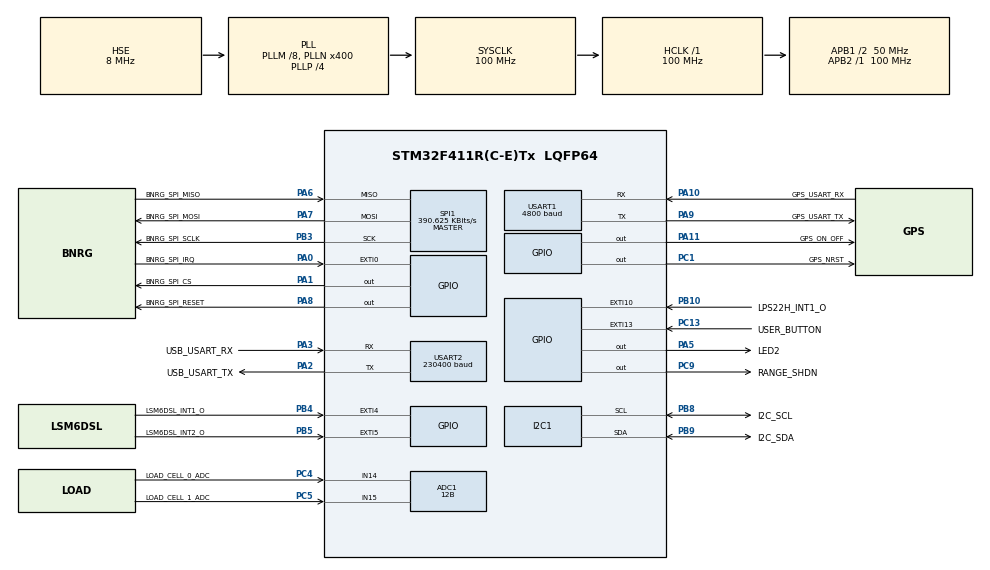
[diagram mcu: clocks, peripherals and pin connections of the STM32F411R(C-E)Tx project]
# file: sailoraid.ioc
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ADC1.Channel-0\#ChannelRegularConversion=ADC_CHANNEL_14
ADC1.Channel-4\#ChannelInjectedConversion=ADC_CHANNEL_14
ADC1.Channel-5\#ChannelRegularConversion=ADC_CHANNEL_15
ADC1.Channel-6\#ChannelInjectedConversion=ADC_CHANNEL_15
ADC1.ClockPrescaler=ADC_CLOCK_SYNC_PCLK_DIV4
ADC1.ContinuousConvMode=DISABLE
ADC1.DMAContinuousRequests=ENABLE
ADC1.DataAlign=ADC_DATAALIGN_RIGHT
ADC1.DiscontinuousConvMode=DISABLE
ADC1.EOCSelection=ADC_EOC_SEQ_CONV
ADC1.EnableAnalogWatchDog=false
ADC1.ExternalTrigConv=ADC_SOFTWARE_START
ADC1.ExternalTrigConvEdge=ADC_EXTERNALTRIGCONVEDGE_NONE
ADC1.ExternalTrigInjecConv=ADC_INJECTED_SOFTWARE_START
ADC1.ExternalTrigInjecConvEdge=ADC_EXTERNALTRIGINJECCONVEDGE_NONE
ADC1.InjNumberOfConversion=2
ADC1.InjectedConvMode=None
ADC1.InjectedOffset-4\#ChannelInjectedConversion=0
ADC1.InjectedOffset-6\#ChannelInjectedConversion=0
ADC1.NbrOfConversion=2
ADC1.NbrOfConversionFlag=1
ADC1.Rank-0\#ChannelRegularConversion=1
ADC1.Rank-4\#ChannelInjectedConversion=1
ADC1.Rank-5\#ChannelRegularConversion=2
ADC1.Rank-6\#ChannelInjectedConversion=2
ADC1.Resolution=ADC_RESOLUTION_12B
ADC1.SamplingTime-0\#ChannelRegularConversion=ADC_SAMPLETIME_28CYCLES
ADC1.SamplingTime-4\#ChannelInjectedConversion=ADC_SAMPLETIME_28CYCLES
ADC1.SamplingTime-5\#ChannelRegularConversion=ADC_SAMPLETIME_28CYCLES
ADC1.SamplingTime-6\#ChannelInjectedConversion=ADC_SAMPLETIME_28CYCLES
ADC1.ScanConvMode=ENABLE
ADC1.master=1
Dma.ADC1.4.Direction=DMA_PERIPH_TO_MEMORY
Dma.ADC1.4.FIFOMode=DMA_FIFOMODE_DISABLE
Dma.ADC1.4.Instance=DMA2_Stream0
Dma.ADC1.4.MemDataAlignment=DMA_MDATAALIGN_HALFWORD
Dma.ADC1.4.MemInc=DMA_MINC_ENABLE
Dma.ADC1.4.Mode=DMA_CIRCULAR
Dma.ADC1.4.PeriphDataAlignment=DMA_PDATAALIGN_HALFWORD
Dma.ADC1.4.PeriphInc=DMA_PINC_DISABLE
Dma.ADC1.4.Priority=DMA_PRIORITY_LOW
Dma.Request0=USART1_RX
Dma.Request1=USART1_TX
Dma.Request2=USART2_RX
Dma.Request3=USART2_TX
Dma.Request4=ADC1
Dma.USART1_RX.0.Direction=DMA_PERIPH_TO_MEMORY
Dma.USART1_RX.0.FIFOMode=DMA_FIFOMODE_DISABLE
Dma.USART1_RX.0.Instance=DMA2_Stream2
Dma.USART1_RX.0.MemDataAlignment=DMA_MDATAALIGN_BYTE
Dma.USART1_RX.0.MemInc=DMA_MINC_ENABLE
Dma.USART1_RX.0.Mode=DMA_CIRCULAR
Dma.USART1_RX.0.PeriphDataAlignment=DMA_PDATAALIGN_BYTE
Dma.USART1_RX.0.PeriphInc=DMA_PINC_DISABLE
Dma.USART1_RX.0.Priority=DMA_PRIORITY_LOW
Dma.USART1_TX.1.Direction=DMA_MEMORY_TO_PERIPH
Dma.USART1_TX.1.FIFOMode=DMA_FIFOMODE_DISABLE
Dma.USART1_TX.1.Instance=DMA2_Stream7
Dma.USART1_TX.1.MemDataAlignment=DMA_MDATAALIGN_BYTE
Dma.USART1_TX.1.MemInc=DMA_MINC_ENABLE
Dma.USART1_TX.1.Mode=DMA_NORMAL
Dma.USART1_TX.1.PeriphDataAlignment=DMA_PDATAALIGN_BYTE
Dma.USART1_TX.1.PeriphInc=DMA_PINC_DISABLE
Dma.USART1_TX.1.Priority=DMA_PRIORITY_LOW
Dma.USART2_RX.2.Direction=DMA_PERIPH_TO_MEMORY
Dma.USART2_RX.2.FIFOMode=DMA_FIFOMODE_DISABLE
Dma.USART2_RX.2.Instance=DMA1_Stream5
Dma.USART2_RX.2.MemDataAlignment=DMA_MDATAALIGN_BYTE
Dma.USART2_RX.2.MemInc=DMA_MINC_ENABLE
Dma.USART2_RX.2.Mode=DMA_CIRCULAR
Dma.USART2_RX.2.PeriphDataAlignment=DMA_PDATAALIGN_BYTE
Dma.USART2_RX.2.PeriphInc=DMA_PINC_DISABLE
Dma.USART2_RX.2.Priority=DMA_PRIORITY_LOW
Dma.USART2_TX.3.Direction=DMA_MEMORY_TO_PERIPH
Dma.USART2_TX.3.FIFOMode=DMA_FIFOMODE_DISABLE
Dma.USART2_TX.3.Instance=DMA1_Stream6
Dma.USART2_TX.3.MemDataAlignment=DMA_MDATAALIGN_BYTE
Dma.USART2_TX.3.MemInc=DMA_MINC_ENABLE
Dma.USART2_TX.3.Mode=DMA_NORMAL
Dma.USART2_TX.3.PeriphDataAlignment=DMA_PDATAALIGN_BYTE
Dma.USART2_TX.3.PeriphInc=DMA_PINC_DISABLE
Dma.USART2_TX.3.Priority=DMA_PRIORITY_LOW
I2C1.ClockSpeed=MAIN_I2C_SPEED
I2C1.I2C_Mode=I2C_Fast
Mcu.Family=STM32F4
Mcu.Name=STM32F411R(C-E)Tx
Mcu.Package=LQFP64
Mcu.UserConstants=MAIN_I2C_SPEED,400000
NVIC.ADC_IRQn=true\:0\:0\:false\:false\:true\:true
NVIC.DMA1_Stream5_IRQn=true\:0\:0\:false\:false\:true\:true
NVIC.DMA1_Stream6_IRQn=true\:0\:0\:false\:false\:true\:true
NVIC.DMA2_Stream0_IRQn=true\:0\:0\:false\:false\:true\:true
NVIC.DMA2_Stream2_IRQn=true\:0\:0\:false\:false\:true\:true
NVIC.DMA2_Stream7_IRQn=true\:0\:0\:false\:false\:true\:true
NVIC.EXTI0_IRQn=true\:0\:0\:false\:false\:true\:true
NVIC.EXTI15_10_IRQn=true\:0\:0\:false\:false\:true\:true
NVIC.EXTI4_IRQn=true\:0\:0\:false\:false\:true\:true
NVIC.EXTI9_5_IRQn=true\:0\:0\:false\:false\:true\:true
NVIC.I2C1_ER_IRQn=true\:0\:0\:false\:false\:true\:true
NVIC.I2C1_EV_IRQn=true\:0\:0\:false\:false\:true\:true
NVIC.PVD_IRQn=true\:0\:0\:false\:false\:true\:true
NVIC.PriorityGroup=NVIC_PRIORITYGROUP_0
NVIC.RCC_IRQn=true\:0\:0\:false\:false\:true\:true
NVIC.SPI1_IRQn=true\:0\:0\:false\:false\:true\:true
NVIC.TIM2_IRQn=true\:0\:0\:false\:false\:true\:true
NVIC.USART1_IRQn=true\:0\:0\:false\:false\:true\:true
NVIC.USART2_IRQn=true\:0\:0\:false\:false\:true\:true
PA0-WKUP.GPIO_Label=BNRG_SPI_IRQ
PA0-WKUP.Signal=GPXTI0
PA1.GPIO_Label=BNRG_SPI_CS
PA1.GPIO_Speed=GPIO_SPEED_FREQ_HIGH
PA1.PinState=GPIO_PIN_RESET
PA1.Signal=GPIO_Output
PA10.GPIO_Label=GPS_USART_RX
PA10.Mode=Asynchronous
PA10.Signal=USART1_RX
PA11.GPIO_Label=GPS_ON_OFF
PA11.GPIO_PuPd=GPIO_PULLUP
PA11.Signal=GPIO_Output
PA13.GPIO_Label=TMS
PA13.Mode=Serial_Wire
PA13.Signal=SYS_JTMS-SWDIO
PA14.GPIO_Label=TCK
PA14.Mode=Serial_Wire
PA14.Signal=SYS_JTCK-SWCLK
PA2.GPIO_Label=USB_USART_TX
PA2.Mode=Asynchronous
PA2.Signal=USART2_TX
PA3.GPIO_Label=USB_USART_RX
PA3.Mode=Asynchronous
PA3.Signal=USART2_RX
PA5.GPIO_Label=LED2
PA5.Signal=GPIO_Output
PA6.GPIO_Label=BNRG_SPI_MISO
PA6.Mode=Full_Duplex_Master
PA6.Signal=SPI1_MISO
PA7.GPIO_Label=BNRG_SPI_MOSI
PA7.Mode=Full_Duplex_Master
PA7.Signal=SPI1_MOSI
PA8.GPIO_Label=BNRG_SPI_RESET
PA8.GPIO_Speed=GPIO_SPEED_FREQ_HIGH
PA8.Signal=GPIO_Output
PA9.GPIO_Label=GPS_USART_TX
PA9.Mode=Asynchronous
PA9.Signal=USART1_TX
PB10.GPIO_Label=LPS22H_INT1_O
PB10.Signal=GPXTI10
PB3.GPIO_Label=BNRG_SPI_SCLK
PB3.Mode=Full_Duplex_Master
PB3.Signal=SPI1_SCK
PB4.GPIO_Label=LSM6DSL_INT1_O
PB4.Signal=GPXTI4
PB5.GPIO_Label=LSM6DSL_INT2_O
PB5.Signal=GPXTI5
PB8.GPIO_Label=I2C_SCL
PB8.Mode=I2C
PB8.Signal=I2C1_SCL
PB9.GPIO_Label=I2C_SDA
PB9.Mode=I2C
PB9.Signal=I2C1_SDA
PC1.GPIO_Label=GPS_NRST
PC1.GPIO_ModeDefaultOutputPP=GPIO_MODE_OUTPUT_PP
PC1.GPIO_PuPd=GPIO_PULLUP
PC1.Signal=GPIO_Output
PC13-ANTI_TAMP.GPIO_Label=USER_BUTTON
PC13-ANTI_TAMP.GPIO_ModeDefaultEXTI=GPIO_MODE_IT_FALLING
PC13-ANTI_TAMP.Signal=GPXTI13
PC14-OSC32_IN.Mode=LSE-External-Oscillator
PC14-OSC32_IN.Signal=RCC_OSC32_IN
PC15-OSC32_OUT.Mode=LSE-External-Oscillator
PC15-OSC32_OUT.Signal=RCC_OSC32_OUT
PC4.GPIO_Label=LOAD_CELL_0_ADC
PC4.Signal=ADCx_IN14
PC5.GPIO_Label=LOAD_CELL_1_ADC
PC5.Signal=ADCx_IN15
PC9.GPIO_Label=RANGE_SHDN
PC9.PinState=GPIO_PIN_SET
PC9.Signal=GPIO_Output
PH0\ -\ OSC_IN.Mode=HSE-External-Oscillator
PH0\ -\ OSC_IN.Signal=RCC_OSC_IN
PH1\ -\ OSC_OUT.Mode=HSE-External-Oscillator
PH1\ -\ OSC_OUT.Signal=RCC_OSC_OUT
ProjectManager.HeapSize=0x200
ProjectManager.StackSize=0x400
ProjectManager.TargetToolchain=TrueSTUDIO
RCC.48MHZClocksFreq_Value=100000000
RCC.AHBFreq_Value=100000000
RCC.APB1CLKDivider=RCC_HCLK_DIV2
RCC.APB1Freq_Value=50000000
RCC.APB1TimFreq_Value=100000000
RCC.APB2Freq_Value=100000000
RCC.APB2TimFreq_Value=100000000
RCC.CortexFreq_Value=100000000
RCC.FLatency-AdvancedSettings=FLASH_LATENCY_3
RCC.HCLKFreq_Value=100000000
RCC.HSE_VALUE=8000000
RCC.HSI_VALUE=16000000
RCC.PLLM=8
RCC.PLLN=400
RCC.PLLP=RCC_PLLP_DIV4
RCC.PLLSourceVirtual=RCC_PLLSOURCE_HSE
RCC.SYSCLKFreq_VALUE=100000000
RCC.SYSCLKSource=RCC_SYSCLKSOURCE_PLLCLK
RCC.VCOOutputFreq_Value=400000000
SH.ADCx_IN14.0=ADC1_IN14,IN14
SH.ADCx_IN15.0=ADC1_IN15,IN15
SPI1.BaudRatePrescaler=SPI_BAUDRATEPRESCALER_256
SPI1.CLKPhase=SPI_PHASE_1EDGE
SPI1.CLKPolarity=SPI_POLARITY_LOW
SPI1.CRCCalculation=SPI_CRCCALCULATION_DISABLE
SPI1.CalculateBaudRate=390.625 KBits/s
SPI1.Direction=SPI_DIRECTION_2LINES
SPI1.Mode=SPI_MODE_MASTER
SPI1.VirtualType=VM_MASTER
TIM2.Period=0xffffffff
TIM2.Prescaler=99
USART1.BaudRate=4800
USART1.StopBits=STOPBITS_1
USART1.VirtualMode=VM_ASYNC
USART1.WordLength=WORDLENGTH_8B
USART2.BaudRate=230400
USART2.VirtualMode=VM_ASYNC
VP_TIM2_VS_ClockSourceINT.Mode=Internal
board=NUCLEO-F411RE

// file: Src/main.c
/**
 ******************************************************************************
 * File Name          : main.c
 * Description        : Main program body
 ******************************************************************************
 ** This notice applies to any and all portions of this file
 * that are not between comment pairs USER CODE BEGIN and
 * USER CODE END. Other portions of this file, whether
 * inserted by the user or by software development tools
 * are owned by their respective copyright owners.
 *
 * COPYRIGHT(c) 2017 STMicroelectronics
 *
 * Redistribution and use in source and binary forms, with or without modification,
 * are permitted provided that the following conditions are met:
 *   1. Redistributions of source code must retain the above copyright notice,
 *      this list of conditions and the following disclaimer.
 *   2. Redistributions in binary form must reproduce the above copyright notice,
 *      this list of conditions and the following disclaimer in the documentation
 *      and/or other materials provided with the distribution.
 *   3. Neither the name of STMicroelectronics nor the names of its contributors
 *      may be used to endorse or promote products derived from this software
 *      without specific prior written permission.
 *
 * THIS SOFTWARE IS PROVIDED BY THE COPYRIGHT HOLDERS AND CONTRIBUTORS "AS IS"
 * AND ANY EXPRESS OR IMPLIED WARRANTIES, INCLUDING, BUT NOT LIMITED TO, THE
 * IMPLIED WARRANTIES OF MERCHANTABILITY AND FITNESS FOR A PARTICULAR PURPOSE ARE
 * DISCLAIMED. IN NO EVENT SHALL THE COPYRIGHT HOLDER OR CONTRIBUTORS BE LIABLE
 * FOR ANY DIRECT, INDIRECT, INCIDENTAL, SPECIAL, EXEMPLARY, OR CONSEQUENTIAL
 * DAMAGES (INCLUDING, BUT NOT LIMITED TO, PROCUREMENT OF SUBSTITUTE GOODS OR
 * SERVICES; LOSS OF USE, DATA, OR PROFITS; OR BUSINESS INTERRUPTION) HOWEVER
 * CAUSED AND ON ANY THEORY OF LIABILITY, WHETHER IN CONTRACT, STRICT LIABILITY,
 * OR TORT (INCLUDING NEGLIGENCE OR OTHERWISE) ARISING IN ANY WAY OUT OF THE USE
 * OF THIS SOFTWARE, EVEN IF ADVISED OF THE POSSIBILITY OF SUCH DAMAGE.
 *
 ******************************************************************************
 */

#include "main.h"
#include "stm32f4xx_hal.h"

/* USER CODE BEGIN Includes */
#include "bluenrg_interface.h"
#include "stm32f4xx_nucleo.h"
#include "imu.h"
#include "gps.h"
#include "sensor.h"
#include "serial.h"
#include "MadgwickAHRS.h"
#include "state.h"
#include "range.h"
/* USER CODE END Includes */

ADC_HandleTypeDef hadc1;
DMA_HandleTypeDef hdma_adc1;

I2C_HandleTypeDef hi2c1;

SPI_HandleTypeDef hspi1;

TIM_HandleTypeDef htim2;

UART_HandleTypeDef huart1;
UART_HandleTypeDef huart2;
DMA_HandleTypeDef hdma_usart1_rx;
DMA_HandleTypeDef hdma_usart1_tx;
DMA_HandleTypeDef hdma_usart2_rx;
DMA_HandleTypeDef hdma_usart2_tx;

/* USER CODE BEGIN PV */

// System sample rates and USB/BT output rates
// Lowest rate possible is 1/(0xffffffff/10^6) = 0.0002 Hz
#define IMU_SAMPLE_RATE 100.0
#define ENV_SAMPLE_RATE 1.0
#define ADC_SAMPLE_RATE 10.0
#define RANGE_SAMPLE_RATE 10.0

#define USB_ENV_OUTPUT_RATE 1.0
#define USB_GPS_OUTPUT_RATE 1.0
#define USB_IMU_OUTPUT_RATE 60.0
#define USB_RANGE_OUTPUT_RATE 10.0
#define USB_MATLAB_OUTPUT_RATE 100.0
#define USB_ADC_OUTPUT_RATE 10.0

#define BT_ENV_OUTPUT_RATE 5.0
#define BT_GPS_OUTPUT_RATE 1.0
#define BT_IMU_OUTPUT_RATE 30.0
#define BT_RANGE_OUTPUT_RATE 5.0

extern volatile uint8_t set_connectable;
extern volatile int connected;
volatile uint8_t adcFinished = 1;
SensorState_t sensor;

typedef struct Task_Data
{
  uint32_t period;
  uint32_t previous;
  BOOL echo;
} Task_Data;

/**
 * Check if it is time to run a task
 */
static uint32_t taskTimeout(Task_Data *data, TIM_HandleTypeDef *tim)
{
  uint32_t deltaTime = tim->Instance->CNT - data->previous;
  if (deltaTime >= data->period)
  {
    // If deadline has passed more than once add the period multiple times
    // to avoid running the task many times. We don't want to add deltaTime,
    // since this would result in drift
    int k = deltaTime / data->period;
    data->previous += k * data->period;
    return deltaTime;
  }
  return 0;
}

static Task_Data imuSampleTask = { .period = (uint32_t) (1000000.0 / IMU_SAMPLE_RATE) };
static Task_Data envSampleTask = { .period = (uint32_t) (1000000.0 / ENV_SAMPLE_RATE) };
static Task_Data adcSampleTask = { .period = (uint32_t) (1000000.0 / ADC_SAMPLE_RATE) };
static Task_Data rangeSampleTask = { .period = (uint32_t) (1000000.0 / RANGE_SAMPLE_RATE) };
static Task_Data usbEnvOutputTask = { .period = (uint32_t) (1000000.0 / USB_ENV_OUTPUT_RATE) };
static Task_Data usbGpsOutputTask = { .period = (uint32_t) (1000000.0 / USB_GPS_OUTPUT_RATE) };
static Task_Data usbImuOutputTask = { .period = (uint32_t) (1000000.0 / USB_IMU_OUTPUT_RATE) };
static Task_Data usbRangeOutputTask = { .period = (uint32_t) (1000000.0 / USB_RANGE_OUTPUT_RATE) };
static Task_Data usbMatlabOutputTask = { .period = (uint32_t) (1000000.0 / USB_MATLAB_OUTPUT_RATE) };
static Task_Data usbAdcOutputTask = { .period = (uint32_t) (1000000.0 / USB_MATLAB_OUTPUT_RATE) };
static Task_Data btEnvOutputTask = { .period = (uint32_t) (1000000.0 / BT_ENV_OUTPUT_RATE) };
static Task_Data btGpsOutputTask = { .period = (uint32_t) (1000000.0 / BT_GPS_OUTPUT_RATE) };
static Task_Data btImuOutputTask = { .period = (uint32_t) (1000000.0 / BT_IMU_OUTPUT_RATE) };
static Task_Data btRangeOutputTask = { .period = (uint32_t) (1000000.0 / BT_RANGE_OUTPUT_RATE) };
/* USER CODE END PV */

void SystemClock_Config(void);
static void MX_GPIO_Init(void);
static void MX_DMA_Init(void);
static void MX_USART2_UART_Init(void);
static void MX_SPI1_Init(void);
static void MX_USART1_UART_Init(void);
static void MX_I2C1_Init(void);
static void MX_TIM2_Init(void);
static void MX_ADC1_Init(void);

/* USER CODE BEGIN 0 */
void HAL_ADCEx_InjectedConvCpltCallback(ADC_HandleTypeDef* hadc)
{
  // ADC has finished reading and converting the values on the four pins
  sensor.load.cell0 = ((float) HAL_ADCEx_InjectedGetValue(&hadc1, ADC_INJECTED_RANK_1)) / 4096.0 * 100;
  sensor.load.cell1 = ((float) HAL_ADCEx_InjectedGetValue(&hadc1, ADC_INJECTED_RANK_2)) / 4096.0 * 100;
  adcFinished = 1;
}

void User_Process(void)
{
  if (set_connectable)
  {
    setConnectable();
    set_connectable = FALSE;
  }
}

static void SetEcho(BOOL echo, Task_Data *task)
{
  task->echo = echo;
  task->previous = htim2.Instance->CNT - task->period;
}

void IMUecho(BOOL echo)
{
  SetEcho(echo, &usbImuOutputTask);
}

void GPSecho(BOOL echo)
{
  SetEcho(echo, &usbGpsOutputTask);
}

void ENVecho(BOOL echo)
{
  SetEcho(echo, &usbEnvOutputTask);
}

void RangeEcho(BOOL echo)
{
  SetEcho(echo, &usbRangeOutputTask);
}

void MATLABecho(BOOL echo)
{
  SetEcho(echo, &usbMatlabOutputTask);
}

void ADCecho(BOOL echo)
{
  SetEcho(echo, &usbAdcOutputTask);
}

/**
 * @brief  EXTI line detection callback.
 * @param  Specifies the pins connected EXTI line
 * @retval None
 */
void HAL_GPIO_EXTI_Callback(uint16_t GPIO_Pin)
{
  switch (GPIO_Pin)
  {
  case BNRG_SPI_EXTI_Pin:
    HCI_Isr();
    break;
  case USER_BUTTON_Pin:
    printf("Button pressed\r\n");
    break;
  default:
    break;
  }
}

static void GetBatteryTimeToEmptyAndPercentCharge(uint16_t* timeToEmpty, uint16_t* percentCharge)
{
  // For some reason we need to lower the baud rate to 5000k
  // to communicate with BQ28Z610.
  while (HAL_I2C_GetState(&hi2c1) == HAL_I2C_STATE_BUSY)
    ;
  if (HAL_I2C_DeInit(&hi2c1) != HAL_OK)
  {
    _Error_Handler(__FILE__, __LINE__);
  }
  hi2c1.Init.ClockSpeed = 5000;
  if (HAL_I2C_Init(&hi2c1) != HAL_OK)
  {
    _Error_Handler(__FILE__, __LINE__);
  }
  while (HAL_I2C_GetState(&hi2c1) == HAL_I2C_STATE_BUSY)
    ;
  // Read the BQ28Z610 (0xAA) register RelativeStateOfCharge (0x2C) (in percent)
  *percentCharge = 0;
  HAL_I2C_Mem_Read(&hi2c1, 0xAA, (uint16_t) 0x2C, 1, (uint8_t *) percentCharge, 1, 0x1000);
  while (HAL_I2C_GetState(&hi2c1) == HAL_I2C_STATE_BUSY);

  // Read the BQ28Z610 (0xAA) register AverageTimeToEmpty (0x16) (in minutes)
  HAL_I2C_Mem_Read(&hi2c1, 0xAA, (uint16_t) 0x16, 1, (uint8_t *) timeToEmpty, 2, 0x1000);

  // Reset to 400k baud rate
  if (HAL_I2C_DeInit(&hi2c1) != HAL_OK)
  {
    _Error_Handler(__FILE__, __LINE__);
  }
  while (HAL_I2C_GetState(&hi2c1) == HAL_I2C_STATE_BUSY)
    ;
  hi2c1.Init.ClockSpeed = MAIN_I2C_SPEED;
  MX_I2C1_Init();
  while (HAL_I2C_GetState(&hi2c1) == HAL_I2C_STATE_BUSY)
    ;
}

/* USER CODE END 0 */

int main(void)
{

  /* USER CODE BEGIN 1 */
  SensorAxes_t ACC_Value; /*!< Acceleration Value */
  SensorAxes_t GYR_Value; /*!< Gyroscope Value */
  SensorAxes_t MAG_Value; /*!< Magnetometer Value */
  memset(&sensor, 0, sizeof(SensorState_t));
  memset(&ACC_Value, 0, sizeof(ACC_Value));
  memset(&GYR_Value, 0, sizeof(GYR_Value));
  memset(&MAG_Value, 0, sizeof(MAG_Value));
  /* USER CODE END 1 */

  /* MCU Configuration----------------------------------------------------------*/

  /* Reset of all peripherals, Initializes the Flash interface and the Systick. */
  HAL_Init();

  /* Configure the system clock */
  SystemClock_Config();

  /* Initialize all configured peripherals */
  MX_GPIO_Init();
  MX_DMA_Init();
  MX_USART2_UART_Init();
  MX_SPI1_Init();
  MX_USART1_UART_Init();
  MX_I2C1_Init();
  MX_TIM2_Init();
  MX_ADC1_Init();

  /* USER CODE BEGIN 2 */
  SerialInit(&huart2, &huart1);

  /* Configure Bluetooth GATT server */
  BTinit();

  /* ADC (not currently used) */
  HAL_ADC_Start(&hadc1);

  /* Configure LED2 */
  BSP_LED_Init(LED2);
  /* Configure the User Button in GPIO Mode */
  BSP_PB_Init(BUTTON_KEY, BUTTON_MODE_GPIO);

  /* Configure the system clock */
  SystemClock_Config();

  /* GPS */
  GPSinit();

  /* IMU */
  IMUinit();
  MadgwickInit(IMU_SAMPLE_RATE);

  /* Range */
  VL53L0X_Dev_t rangeDev = { .Id = 0, .I2cHandle = &hi2c1, .I2cDevAddr = 0x52 };
  Range_Sensor_Init(&rangeDev);
  RangingConfig_e rangingConfig = LONG_RANGE;
  Range_Sensor_Setup_Single_Shot(&rangeDev, rangingConfig);
  VL53L0X_RangingMeasurementData_t rangeData;

  // Start the task timer
  HAL_TIM_Base_Init(&htim2);
  HAL_TIM_Base_Start(&htim2);

  /* USER CODE END 2 */

  /* Infinite loop */
  while (1)
  {

    /* USER CODE BEGIN 3 */
    HCI_Process();
    User_Process();

    /*** INPUTS ***/
    if (taskTimeout(&imuSampleTask, &htim2))
    {
      // Update the IMU
      Accelero_Sensor_Handler(&ACC_Value);
      Gyro_Sensor_Handler(&GYR_Value);
      Magneto_Sensor_Handler(&MAG_Value);

#ifdef BOARD_REV2
      sensor.imu.gx = ((float) GYR_Value.AXIS_X) / 1000;
      sensor.imu.gy = ((float) GYR_Value.AXIS_Y) / 1000;
      sensor.imu.gz = ((float) GYR_Value.AXIS_Z) / 1000;
      sensor.imu.ax = ((float) ACC_Value.AXIS_X) / 1000;
      sensor.imu.ay = ((float) ACC_Value.AXIS_Y) / 1000;
      sensor.imu.az = ((float) ACC_Value.AXIS_Z) / 1000;
      sensor.imu.my = (((float) MAG_Value.AXIS_X) - MAG_X_BIAS) * MAG_X_SCL / 1000;
      sensor.imu.mx = (((float) MAG_Value.AXIS_Y) - MAG_Y_BIAS) * MAG_Y_SCL / 1000; // LSM6DSL has opposite y-axis compared to LSM303 on IMU board
      sensor.imu.mz = (((float) MAG_Value.AXIS_Z) - MAG_Z_BIAS) * MAG_Z_SCL / 1000;
#else
      sensor.imu.gx = ((float) GYR_Value.AXIS_X) / 1000;
      sensor.imu.gy = ((float) GYR_Value.AXIS_Y) / 1000;
      sensor.imu.gz = ((float) GYR_Value.AXIS_Z) / 1000;
      sensor.imu.ax = ((float) ACC_Value.AXIS_X) / 1000;
      sensor.imu.ay = ((float) ACC_Value.AXIS_Y) / 1000;
      sensor.imu.az = ((float) ACC_Value.AXIS_Z) / 1000;
      sensor.imu.my = (((float) MAG_Value.AXIS_X) - MAG_X_BIAS) * MAG_X_SCL / 1000;
      sensor.imu.mx = (((float) MAG_Value.AXIS_Y) - MAG_Y_BIAS) * MAG_Y_SCL / 1000; // LSM6DSL has opposite y-axis compared to LSM303 on IMU board
      sensor.imu.mz = (((float) MAG_Value.AXIS_Z) - MAG_Z_BIAS) * MAG_Z_SCL / 1000;
#endif

      MadgwickUpdate(sensor.imu.gx, sensor.imu.gy, sensor.imu.gz, sensor.imu.ax, sensor.imu.ay, sensor.imu.az, sensor.imu.mx, sensor.imu.my, sensor.imu.mz);
      sensor.imu.roll = MadgwickGetRoll();
      sensor.imu.pitch = -MadgwickGetPitch();
      sensor.imu.yaw = -MadgwickGetYaw();
    }
    if (taskTimeout(&envSampleTask, &htim2))
    {
      // Update environment sensors
      Pressure_Sensor_Handler(&sensor.env.pressure);
      Humidity_Sensor_Handler(&sensor.env.humidity);
      Temperature_Sensor_Handler(&sensor.env.temperature);
    }
    if (adcFinished && (taskTimeout(&adcSampleTask, &htim2)))
    {
      // Update ADC
      HAL_ADCEx_InjectedStart_IT(&hadc1);
      adcFinished = 0;
    }
    if (taskTimeout(&rangeSampleTask, &htim2))
    {
      // Get previous range measurement
      if (Range_Sensor_Get_Measurement(&rangeDev, &rangeData) == VL53L0X_ERROR_NONE)
      {
        // Filtered distance in cm
        sensor.range.range0 = (rangeData.RangeStatus == 0) ? (int) rangeDev.LeakyRange / 10 : INFINITY;
      }
      // Start new range measurement
      Range_Sensor_Start_New_Measurement(&rangeDev, &rangeData);
    }

    /*** OUTPUTS ***/
    if (taskTimeout(&btImuOutputTask, &htim2))
    {
      // Update orientation, GPS and environmental data on Bluetooth GATT server
      Orientation_Update(sensor.imu.roll, sensor.imu.pitch, sensor.imu.yaw);
    }
    if (taskTimeout(&btGpsOutputTask, &htim2))
    {
      uint16_t percentCharge, timeToEmpty;
      GetBatteryTimeToEmptyAndPercentCharge(&timeToEmpty, &percentCharge);
      sensor.gps.info.batteryPercentCharge = percentCharge;
      sensor.gps.info.batteryTimeToEmpty = timeToEmpty;
      Bat_Update(sensor.gps.info.batteryPercentCharge, sensor.gps.info.batteryTimeToEmpty);

      // To avoid race conditions, disable GPS update while reading
      HAL_NVIC_DisableIRQ(GPS_USART_IRQn);
      GPS_Update(sensor.gps.pos.longitude, sensor.gps.pos.latitude, sensor.gps.pos.elevation, sensor.gps.pos.speed, sensor.gps.pos.direction);
      HAL_NVIC_EnableIRQ(GPS_USART_IRQn);
    }
    if (taskTimeout(&btEnvOutputTask, &htim2))
    {
      Temp_Update(sensor.env.temperature);
      Humidity_Update(sensor.env.humidity);
      Press_Update(sensor.load.cell0, sensor.load.cell1);
    }
    if (taskTimeout(&btRangeOutputTask, &htim2))
    {
      Range_Update(sensor.range.range0);
    }
    if (usbImuOutputTask.echo && taskTimeout(&usbImuOutputTask, &htim2))
    {
      printf("%3.4f %3.4f %3.4f\r\n", sensor.imu.roll, sensor.imu.pitch, sensor.imu.yaw);
//      printf("%3.4f %3.4f %3.4f\r\n", sensor.imu.mx, sensor.imu.my, sensor.imu.mz);
    }
    if (usbGpsOutputTask.echo && taskTimeout(&usbGpsOutputTask, &htim2))
    {
      // To avoid race conditions, disable GPS update while reading
      HAL_NVIC_DisableIRQ(GPS_USART_IRQn);
      printf("date %d/%d %d, time %d:%d, lat %f, lon %f, elv %f, speed %f, dir %f satuse %d, satview %d, bat %f, %f min\r\n",
          sensor.gps.time.day,
          sensor.gps.time.month,
          sensor.gps.time.year, sensor.gps.time.hour, sensor.gps.time.min, sensor.gps.pos.latitude, sensor.gps.pos.longitude, sensor.gps.pos.elevation,
          sensor.gps.pos.speed, sensor.gps.pos.direction, sensor.gps.info.satUse, sensor.gps.info.satView, sensor.gps.info.batteryPercentCharge, sensor.gps.info.batteryTimeToEmpty);
      HAL_NVIC_EnableIRQ(GPS_USART_IRQn);
    }
    if (usbEnvOutputTask.echo && taskTimeout(&usbEnvOutputTask, &htim2))
    {
      printf("humidity %3.4f, pressure %3.4f, temperature %3.4f\r\n", sensor.env.humidity, sensor.env.pressure, sensor.env.temperature);
    }
    if (usbRangeOutputTask.echo && taskTimeout(&usbRangeOutputTask, &htim2))
    {
      if (sensor.range.range0 < INFINITY)
        printf("range %f cm\n", sensor.range.range0);
      else
        printf("range ∞\n");
    }
    if (usbMatlabOutputTask.echo && taskTimeout(&usbMatlabOutputTask, &htim2))
    {
      HAL_NVIC_DisableIRQ(GPS_USART_IRQn);
      SerialUsbTransmit((char*) &sensor, sizeof(sensor));
      HAL_NVIC_EnableIRQ(GPS_USART_IRQn);
      char sync[] = { 0xff, 0xff, 0xff, 0xff };
      SerialUsbTransmit(sync, 4);
    }
    if (usbAdcOutputTask.echo && taskTimeout(&usbAdcOutputTask, &htim2))
    {
      while (!adcFinished)
      {
      }
      printf("adc %3.4f, %3.4f\r\n", sensor.load.cell0, sensor.load.cell1);
    }
  }
  /* USER CODE END 3 */

}

/** System Clock Configuration
 */
void SystemClock_Config(void)
{

  RCC_OscInitTypeDef RCC_OscInitStruct;
  RCC_ClkInitTypeDef RCC_ClkInitStruct;

  /**Configure the main internal regulator output voltage
   */
  __HAL_RCC_PWR_CLK_ENABLE()
  ;

  __HAL_PWR_VOLTAGESCALING_CONFIG(PWR_REGULATOR_VOLTAGE_SCALE1);

  /**Initializes the CPU, AHB and APB busses clocks
   */
  RCC_OscInitStruct.OscillatorType = RCC_OSCILLATORTYPE_HSE;
  RCC_OscInitStruct.HSEState = RCC_HSE_ON;
  RCC_OscInitStruct.PLL.PLLState = RCC_PLL_ON;
  RCC_OscInitStruct.PLL.PLLSource = RCC_PLLSOURCE_HSE;
  RCC_OscInitStruct.PLL.PLLM = 8;
  RCC_OscInitStruct.PLL.PLLN = 400;
  RCC_OscInitStruct.PLL.PLLP = RCC_PLLP_DIV4;
  RCC_OscInitStruct.PLL.PLLQ = 4;
  if (HAL_RCC_OscConfig(&RCC_OscInitStruct) != HAL_OK)
  {
    _Error_Handler(__FILE__, __LINE__);
  }

  /**Initializes the CPU, AHB and APB busses clocks
   */
  RCC_ClkInitStruct.ClockType = RCC_CLOCKTYPE_HCLK | RCC_CLOCKTYPE_SYSCLK | RCC_CLOCKTYPE_PCLK1 | RCC_CLOCKTYPE_PCLK2;
  RCC_ClkInitStruct.SYSCLKSource = RCC_SYSCLKSOURCE_PLLCLK;
  RCC_ClkInitStruct.AHBCLKDivider = RCC_SYSCLK_DIV1;
  RCC_ClkInitStruct.APB1CLKDivider = RCC_HCLK_DIV2;
  RCC_ClkInitStruct.APB2CLKDivider = RCC_HCLK_DIV1;

  if (HAL_RCC_ClockConfig(&RCC_ClkInitStruct, FLASH_LATENCY_3) != HAL_OK)
  {
    _Error_Handler(__FILE__, __LINE__);
  }

  /**Configure the Systick interrupt time
   */
  HAL_SYSTICK_Config(HAL_RCC_GetHCLKFreq() / 1000);

  /**Configure the Systick
   */
  HAL_SYSTICK_CLKSourceConfig(SYSTICK_CLKSOURCE_HCLK);

  /* SysTick_IRQn interrupt configuration */
  HAL_NVIC_SetPriority(SysTick_IRQn, 0, 0);
}

/* ADC1 init function */
static void MX_ADC1_Init(void)
{

  ADC_ChannelConfTypeDef sConfig;
  ADC_InjectionConfTypeDef sConfigInjected;

  /**Configure the global features of the ADC (Clock, Resolution, Data Alignment and number of conversion)
   */
  hadc1.Instance = ADC1;
  hadc1.Init.ClockPrescaler = ADC_CLOCK_SYNC_PCLK_DIV4;
  hadc1.Init.Resolution = ADC_RESOLUTION_12B;
  hadc1.Init.ScanConvMode = ENABLE;
  hadc1.Init.ContinuousConvMode = DISABLE;
  hadc1.Init.DiscontinuousConvMode = DISABLE;
  hadc1.Init.ExternalTrigConvEdge = ADC_EXTERNALTRIGCONVEDGE_NONE;
  hadc1.Init.ExternalTrigConv = ADC_SOFTWARE_START;
  hadc1.Init.DataAlign = ADC_DATAALIGN_RIGHT;
  hadc1.Init.NbrOfConversion = 2;
  hadc1.Init.DMAContinuousRequests = ENABLE;
  hadc1.Init.EOCSelection = ADC_EOC_SEQ_CONV;
  if (HAL_ADC_Init(&hadc1) != HAL_OK)
  {
    _Error_Handler(__FILE__, __LINE__);
  }

  /**Configure for the selected ADC regular channel its corresponding rank in the sequencer and its sample time.
   */
  sConfig.Channel = ADC_CHANNEL_14;
  sConfig.Rank = 1;
  sConfig.SamplingTime = ADC_SAMPLETIME_28CYCLES;
  if (HAL_ADC_ConfigChannel(&hadc1, &sConfig) != HAL_OK)
  {
    _Error_Handler(__FILE__, __LINE__);
  }

  /**Configure for the selected ADC regular channel its corresponding rank in the sequencer and its sample time.
   */
  sConfig.Channel = ADC_CHANNEL_15;
  sConfig.Rank = 2;
  if (HAL_ADC_ConfigChannel(&hadc1, &sConfig) != HAL_OK)
  {
    _Error_Handler(__FILE__, __LINE__);
  }

  /**Configures for the selected ADC injected channel its corresponding rank in the sequencer and its sample time
   */
  sConfigInjected.InjectedChannel = ADC_CHANNEL_14;
  sConfigInjected.InjectedRank = 1;
  sConfigInjected.InjectedNbrOfConversion = 2;
  sConfigInjected.InjectedSamplingTime = ADC_SAMPLETIME_28CYCLES;
  sConfigInjected.ExternalTrigInjecConvEdge = ADC_EXTERNALTRIGINJECCONVEDGE_NONE;
  sConfigInjected.ExternalTrigInjecConv = ADC_INJECTED_SOFTWARE_START;
  sConfigInjected.AutoInjectedConv = DISABLE;
  sConfigInjected.InjectedDiscontinuousConvMode = DISABLE;
  sConfigInjected.InjectedOffset = 0;
  if (HAL_ADCEx_InjectedConfigChannel(&hadc1, &sConfigInjected) != HAL_OK)
  {
    _Error_Handler(__FILE__, __LINE__);
  }

  /**Configures for the selected ADC injected channel its corresponding rank in the sequencer and its sample time
   */
  sConfigInjected.InjectedChannel = ADC_CHANNEL_15;
  sConfigInjected.InjectedRank = 2;
  if (HAL_ADCEx_InjectedConfigChannel(&hadc1, &sConfigInjected) != HAL_OK)
  {
    _Error_Handler(__FILE__, __LINE__);
  }

}

/* I2C1 init function */
static void MX_I2C1_Init(void)
{

  hi2c1.Instance = I2C1;
  hi2c1.Init.ClockSpeed = MAIN_I2C_SPEED;
  hi2c1.Init.DutyCycle = I2C_DUTYCYCLE_2;
  hi2c1.Init.OwnAddress1 = 0;
  hi2c1.Init.AddressingMode = I2C_ADDRESSINGMODE_7BIT;
  hi2c1.Init.DualAddressMode = I2C_DUALADDRESS_DISABLE;
  hi2c1.Init.OwnAddress2 = 0;
  hi2c1.Init.GeneralCallMode = I2C_GENERALCALL_DISABLE;
  hi2c1.Init.NoStretchMode = I2C_NOSTRETCH_DISABLE;
  if (HAL_I2C_Init(&hi2c1) != HAL_OK)
  {
    _Error_Handler(__FILE__, __LINE__);
  }

}

/* SPI1 init function */
static void MX_SPI1_Init(void)
{

  /* SPI1 parameter configuration*/
  hspi1.Instance = SPI1;
  hspi1.Init.Mode = SPI_MODE_MASTER;
  hspi1.Init.Direction = SPI_DIRECTION_2LINES;
  hspi1.Init.DataSize = SPI_DATASIZE_8BIT;
  hspi1.Init.CLKPolarity = SPI_POLARITY_LOW;
  hspi1.Init.CLKPhase = SPI_PHASE_1EDGE;
  hspi1.Init.NSS = SPI_NSS_SOFT;
  hspi1.Init.BaudRatePrescaler = SPI_BAUDRATEPRESCALER_256;
  hspi1.Init.FirstBit = SPI_FIRSTBIT_MSB;
  hspi1.Init.TIMode = SPI_TIMODE_DISABLE;
  hspi1.Init.CRCCalculation = SPI_CRCCALCULATION_DISABLE;
  hspi1.Init.CRCPolynomial = 10;
  if (HAL_SPI_Init(&hspi1) != HAL_OK)
  {
    _Error_Handler(__FILE__, __LINE__);
  }

}

/* TIM2 init function */
static void MX_TIM2_Init(void)
{

  TIM_ClockConfigTypeDef sClockSourceConfig;
  TIM_MasterConfigTypeDef sMasterConfig;

  htim2.Instance = TIM2;
  htim2.Init.Prescaler = 99;
  htim2.Init.CounterMode = TIM_COUNTERMODE_UP;
  htim2.Init.Period = 0xffffffff;
  htim2.Init.ClockDivision = TIM_CLOCKDIVISION_DIV1;
  if (HAL_TIM_Base_Init(&htim2) != HAL_OK)
  {
    _Error_Handler(__FILE__, __LINE__);
  }

  sClockSourceConfig.ClockSource = TIM_CLOCKSOURCE_INTERNAL;
  if (HAL_TIM_ConfigClockSource(&htim2, &sClockSourceConfig) != HAL_OK)
  {
    _Error_Handler(__FILE__, __LINE__);
  }

  sMasterConfig.MasterOutputTrigger = TIM_TRGO_RESET;
  sMasterConfig.MasterSlaveMode = TIM_MASTERSLAVEMODE_DISABLE;
  if (HAL_TIMEx_MasterConfigSynchronization(&htim2, &sMasterConfig) != HAL_OK)
  {
    _Error_Handler(__FILE__, __LINE__);
  }

}

/* USART1 init function */
static void MX_USART1_UART_Init(void)
{

  huart1.Instance = USART1;
  huart1.Init.BaudRate = 4800;
  huart1.Init.WordLength = UART_WORDLENGTH_8B;
  huart1.Init.StopBits = UART_STOPBITS_1;
  huart1.Init.Parity = UART_PARITY_NONE;
  huart1.Init.Mode = UART_MODE_TX_RX;
  huart1.Init.HwFlowCtl = UART_HWCONTROL_NONE;
  huart1.Init.OverSampling = UART_OVERSAMPLING_16;
  if (HAL_UART_Init(&huart1) != HAL_OK)
  {
    _Error_Handler(__FILE__, __LINE__);
  }

}

/* USART2 init function */
static void MX_USART2_UART_Init(void)
{

  huart2.Instance = USART2;
  huart2.Init.BaudRate = 230400;
  huart2.Init.WordLength = UART_WORDLENGTH_8B;
  huart2.Init.StopBits = UART_STOPBITS_1;
  huart2.Init.Parity = UART_PARITY_NONE;
  huart2.Init.Mode = UART_MODE_TX_RX;
  huart2.Init.HwFlowCtl = UART_HWCONTROL_NONE;
  huart2.Init.OverSampling = UART_OVERSAMPLING_16;
  if (HAL_UART_Init(&huart2) != HAL_OK)
  {
    _Error_Handler(__FILE__, __LINE__);
  }

}

static void MX_DMA_Init(void)
{
  /* DMA controller clock enable */
  __HAL_RCC_DMA2_CLK_ENABLE()
  ;
  __HAL_RCC_DMA1_CLK_ENABLE()
  ;

  /* DMA interrupt init */
  /* DMA1_Stream5_IRQn interrupt configuration */
  HAL_NVIC_SetPriority(DMA1_Stream5_IRQn, 0, 0);
  HAL_NVIC_EnableIRQ(DMA1_Stream5_IRQn);
  /* DMA1_Stream6_IRQn interrupt configuration */
  HAL_NVIC_SetPriority(DMA1_Stream6_IRQn, 0, 0);
  HAL_NVIC_EnableIRQ(DMA1_Stream6_IRQn);
  /* DMA2_Stream0_IRQn interrupt configuration */
  HAL_NVIC_SetPriority(DMA2_Stream0_IRQn, 0, 0);
  HAL_NVIC_EnableIRQ(DMA2_Stream0_IRQn);
  /* DMA2_Stream2_IRQn interrupt configuration */
  HAL_NVIC_SetPriority(DMA2_Stream2_IRQn, 0, 0);
  HAL_NVIC_EnableIRQ(DMA2_Stream2_IRQn);
  /* DMA2_Stream7_IRQn interrupt configuration */
  HAL_NVIC_SetPriority(DMA2_Stream7_IRQn, 0, 0);
  HAL_NVIC_EnableIRQ(DMA2_Stream7_IRQn);

}

/** Configure pins as
 * Analog
 * Input
 * Output
 * EVENT_OUT
 * EXTI
 */
static void MX_GPIO_Init(void)
{

  GPIO_InitTypeDef GPIO_InitStruct;

  /* GPIO Ports Clock Enable */
  __HAL_RCC_GPIOC_CLK_ENABLE()
  ;
  __HAL_RCC_GPIOH_CLK_ENABLE()
  ;
  __HAL_RCC_GPIOA_CLK_ENABLE()
  ;
  __HAL_RCC_GPIOB_CLK_ENABLE()
  ;

  /*Configure GPIO pin Output Level */
  HAL_GPIO_WritePin(GPS_NRST_GPIO_Port, GPS_NRST_Pin, GPIO_PIN_RESET);

  /*Configure GPIO pin Output Level */
  HAL_GPIO_WritePin(GPIOA, BNRG_SPI_CS_Pin | LED2_Pin | BNRG_SPI_RESET_Pin | GPS_ON_OFF_Pin, GPIO_PIN_RESET);

  /*Configure GPIO pin Output Level */
  HAL_GPIO_WritePin(RANGE_SHDN_GPIO_Port, RANGE_SHDN_Pin, GPIO_PIN_SET);

  /*Configure GPIO pin : USER_BUTTON_Pin */
  GPIO_InitStruct.Pin = USER_BUTTON_Pin;
  GPIO_InitStruct.Mode = GPIO_MODE_IT_FALLING;
  GPIO_InitStruct.Pull = GPIO_NOPULL;
  HAL_GPIO_Init(USER_BUTTON_GPIO_Port, &GPIO_InitStruct);

  /*Configure GPIO pin : GPS_NRST_Pin */
  GPIO_InitStruct.Pin = GPS_NRST_Pin;
  GPIO_InitStruct.Mode = GPIO_MODE_OUTPUT_PP;
  GPIO_InitStruct.Pull = GPIO_PULLUP;
  GPIO_InitStruct.Speed = GPIO_SPEED_FREQ_LOW;
  HAL_GPIO_Init(GPS_NRST_GPIO_Port, &GPIO_InitStruct);

  /*Configure GPIO pin : BNRG_SPI_IRQ_Pin */
  GPIO_InitStruct.Pin = BNRG_SPI_IRQ_Pin;
  GPIO_InitStruct.Mode = GPIO_MODE_IT_RISING;
  GPIO_InitStruct.Pull = GPIO_NOPULL;
  HAL_GPIO_Init(BNRG_SPI_IRQ_GPIO_Port, &GPIO_InitStruct);

  /*Configure GPIO pins : BNRG_SPI_CS_Pin BNRG_SPI_RESET_Pin */
  GPIO_InitStruct.Pin = BNRG_SPI_CS_Pin | BNRG_SPI_RESET_Pin;
  GPIO_InitStruct.Mode = GPIO_MODE_OUTPUT_PP;
  GPIO_InitStruct.Pull = GPIO_NOPULL;
  GPIO_InitStruct.Speed = GPIO_SPEED_FREQ_HIGH;
  HAL_GPIO_Init(GPIOA, &GPIO_InitStruct);

  /*Configure GPIO pin : LED2_Pin */
  GPIO_InitStruct.Pin = LED2_Pin;
  GPIO_InitStruct.Mode = GPIO_MODE_OUTPUT_PP;
  GPIO_InitStruct.Pull = GPIO_NOPULL;
  GPIO_InitStruct.Speed = GPIO_SPEED_FREQ_LOW;
  HAL_GPIO_Init(LED2_GPIO_Port, &GPIO_InitStruct);

  /*Configure GPIO pins : LPS22H_INT1_O_Pin LSM6DSL_INT1_O_Pin LSM6DSL_INT2_O_Pin */
  GPIO_InitStruct.Pin = LPS22H_INT1_O_Pin | LSM6DSL_INT1_O_Pin | LSM6DSL_INT2_O_Pin;
  GPIO_InitStruct.Mode = GPIO_MODE_IT_RISING;
  GPIO_InitStruct.Pull = GPIO_NOPULL;
  HAL_GPIO_Init(GPIOB, &GPIO_InitStruct);

  /*Configure GPIO pin : RANGE_SHDN_Pin */
  GPIO_InitStruct.Pin = RANGE_SHDN_Pin;
  GPIO_InitStruct.Mode = GPIO_MODE_OUTPUT_PP;
  GPIO_InitStruct.Pull = GPIO_NOPULL;
  GPIO_InitStruct.Speed = GPIO_SPEED_FREQ_LOW;
  HAL_GPIO_Init(RANGE_SHDN_GPIO_Port, &GPIO_InitStruct);

  /*Configure GPIO pin : GPS_ON_OFF_Pin */
  GPIO_InitStruct.Pin = GPS_ON_OFF_Pin;
  GPIO_InitStruct.Mode = GPIO_MODE_OUTPUT_PP;
  GPIO_InitStruct.Pull = GPIO_PULLUP;
  GPIO_InitStruct.Speed = GPIO_SPEED_FREQ_LOW;
  HAL_GPIO_Init(GPS_ON_OFF_GPIO_Port, &GPIO_InitStruct);

  /* EXTI interrupt init*/
  HAL_NVIC_SetPriority(EXTI0_IRQn, 0, 0);
  HAL_NVIC_EnableIRQ(EXTI0_IRQn);

  HAL_NVIC_SetPriority(EXTI4_IRQn, 0, 0);
  HAL_NVIC_EnableIRQ(EXTI4_IRQn);

  HAL_NVIC_SetPriority(EXTI9_5_IRQn, 0, 0);
  HAL_NVIC_EnableIRQ(EXTI9_5_IRQn);

  HAL_NVIC_SetPriority(EXTI15_10_IRQn, 0, 0);
  HAL_NVIC_EnableIRQ(EXTI15_10_IRQn);

}

void _Error_Handler(char * file, int line)
{
}

/************************ (C) COPYRIGHT STMicroelectronics *****END OF FILE****/
